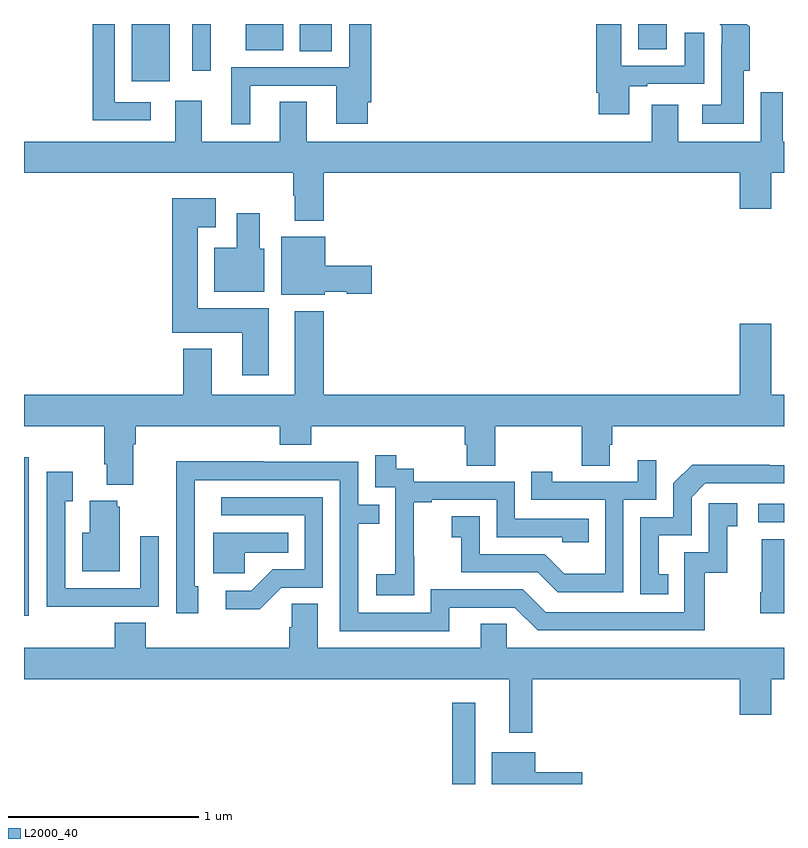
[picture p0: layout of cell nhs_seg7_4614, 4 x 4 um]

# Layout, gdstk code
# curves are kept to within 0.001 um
import gdstk
lib = gdstk.Library(unit=1e-6, precision=1e-09)
def R(c, l, rs):  # rectangles x0, y0, x1, y1
    for r in rs: c.add(gdstk.rectangle(r[:2], r[2:], *l))
def P(c, l, *ps):  # polygons
    for p in ps: c.add(gdstk.Polygon(p, *l))
L2000_40 = (2000, 40)

nhs_seg7_4614 = lib.new_cell('nhs_seg7_4614')
R(nhs_seg7_4614, L2000_40, [(403.254,1064,403.375,1064.428), (401,1064.886,401.026,1065.721), (404.865,1065.378,405,1065.474), (401.567,1067.699,401.767,1068), (401.886,1067.754,401.984,1068), (402.452,1067.857,402.619,1068), (402.167,1067.861,402.364,1068), (404.234,1067.866,404.383,1068)])
P(nhs_seg7_4614, L2000_40, [(404.185,1067.673),(404.281,1067.673),(404.281,1067.685),(404.581,1067.685),(404.581,1067.953),(404.477,1067.953),(404.477,1067.781),(404.143,1067.781),(404.143,1068),(404.012,1068),(404.012,1067.638),(404.024,1067.638),(404.024,1067.526),(404.185,1067.526)],
  [(404.788,1067.754),(404.819,1067.754),(404.819,1067.986),(404.805,1068),(404.661,1068),(404.673,1067.988),(404.673,1067.894),(404.669,1067.894),(404.669,1067.575),(404.571,1067.575),(404.571,1067.474),(404.788,1067.474)],
  [(401.668,1067.589),(401.478,1067.589),(401.478,1068),(401.362,1068),(401.362,1067.493),(401.668,1067.493)],
  [(402.19,1067.676),(402.644,1067.676),(402.644,1067.475),(402.808,1067.475),(402.808,1067.587),(402.827,1067.587),(402.827,1068),(402.711,1068),(402.711,1067.772),(402.092,1067.772),(402.092,1067.472),(402.19,1067.472)],
  [(402.578,1067.216),(404.768,1067.216),(404.768,1067.028),(404.932,1067.028),(404.932,1067.216),(405,1067.216),(405,1067.38),(404.993,1067.38),(404.993,1067.641),(404.877,1067.641),(404.877,1067.38),(404.443,1067.38),(404.443,1067.575),(404.303,1067.575),(404.303,1067.38),(402.487,1067.38),(402.487,1067.591),(402.347,1067.591),(402.347,1067.38),(401.935,1067.38),(401.935,1067.596),(401.795,1067.596),(401.795,1067.38),(401,1067.38),(401,1067.216),(402.418,1067.216),(402.418,1067.096),(402.425,1067.096),(402.425,1066.964),(402.578,1066.964)],
  [(402.289,1066.504),(401.914,1066.504),(401.914,1066.931),(402.01,1066.931),(402.01,1067.083),(401.78,1067.083),(401.78,1066.376),(402.149,1066.376),(402.149,1066.152),(402.289,1066.152)],
  [(402.265,1066.818),(402.241,1066.818),(402.241,1067.005),(402.119,1067.005),(402.119,1066.822),(402.002,1066.822),(402.002,1066.592),(402.265,1066.592)],
  [(402.582,1066.592),(402.699,1066.592),(402.699,1066.58),(402.829,1066.58),(402.829,1066.727),(402.586,1066.727),(402.586,1066.879),(402.353,1066.879),(402.353,1066.574),(402.582,1066.574)],
  [(401.575,1065.788),(401.588,1065.788),(401.588,1065.884),(402.347,1065.884),(402.347,1065.785),(402.512,1065.785),(402.512,1065.884),(403.319,1065.884),(403.319,1065.786),(403.331,1065.786),(403.331,1065.676),(403.479,1065.676),(403.479,1065.884),(403.936,1065.884),(403.936,1065.676),(404.083,1065.676),(404.083,1065.786),(404.096,1065.786),(404.096,1065.884),(405,1065.884),(405,1066.048),(404.932,1066.048),(404.932,1066.423),(404.768,1066.423),(404.768,1066.048),(402.578,1066.048),(402.578,1066.489),(402.425,1066.489),(402.425,1066.048),(401.989,1066.048),(401.989,1066.291),(401.837,1066.291),(401.837,1066.048),(401,1066.048),(401,1065.884),(401.423,1065.884),(401.423,1065.682),(401.435,1065.682),(401.435,1065.575),(401.575,1065.575)],
  [(403.053,1065.199),(403.052,1065.199),(403.052,1065.483),(403.147,1065.483),(403.147,1065.495),(403.488,1065.495),(403.488,1065.3),(403.833,1065.3),(403.833,1065.273),(403.973,1065.273),(403.973,1065.396),(403.584,1065.396),(403.584,1065.591),(403.05,1065.591),(403.05,1065.66),(402.958,1065.66),(402.958,1065.73),(402.849,1065.73),(402.849,1065.561),(402.954,1065.561),(402.954,1065.332),(402.953,1065.332),(402.953,1065.103),(402.855,1065.103),(402.855,1064.993),(403.053,1064.993)],
  [(404.154,1065.495),(404.328,1065.495),(404.328,1065.703),(404.231,1065.703),(404.231,1065.591),(403.78,1065.591),(403.78,1065.643),(403.669,1065.643),(403.669,1065.495),(404.058,1065.495),(404.058,1065.106),(403.844,1065.106),(403.74,1065.21),(403.398,1065.21),(403.398,1065.409),(403.251,1065.409),(403.251,1065.299),(403.3,1065.299),(403.3,1065.114),(403.703,1065.114),(403.808,1065.009),(404.154,1065.009)],
  [(403.237,1064.928),(403.584,1064.928),(403.704,1064.808),(404.584,1064.808),(404.584,1065.111),(404.702,1065.111),(404.702,1065.357),(404.755,1065.357),(404.755,1065.478),(404.604,1065.478),(404.604,1065.219),(404.475,1065.219),(404.475,1064.904),(403.746,1064.904),(403.626,1065.024),(403.14,1065.024),(403.14,1064.901),(402.759,1064.901),(402.759,1065.37),(402.869,1065.37),(402.869,1065.471),(402.759,1065.471),(402.759,1065.696),(402.263,1065.696),(402.263,1065.698),(401.8,1065.698),(401.8,1065.391),(401.802,1065.391),(401.802,1064.898),(401.917,1064.898),(401.917,1065.042),(401.898,1065.042),(401.899,1065.6),(402.663,1065.6),(402.663,1064.805),(403.237,1064.805)],
  [(404.39,1065.105),(404.341,1065.105),(404.341,1065.309),(404.514,1065.309),(404.514,1065.51),(404.586,1065.582),(405,1065.582),(405,1065.678),(404.924,1065.678),(404.924,1065.68),(404.516,1065.68),(404.418,1065.582),(404.418,1065.405),(404.244,1065.405),(404.244,1065),(404.39,1065)],
  [(401.393,1064.934),(401.709,1064.934),(401.709,1065.304),(401.613,1065.304),(401.613,1065.03),(401.217,1065.03),(401.217,1065.487),(401.257,1065.487),(401.257,1065.643),(401.121,1065.643),(401.121,1064.933),(401.393,1064.933)],
  [(402.354,1065.033),(402.573,1065.033),(402.573,1065.51),(402.039,1065.51),(402.039,1065.414),(402.477,1065.414),(402.477,1065.129),(402.308,1065.129),(402.197,1065.018),(402.063,1065.018),(402.063,1064.921),(402.241,1064.921)],
  [(401.503,1065.459),(401.492,1065.459),(401.492,1065.49),(401.345,1065.49),(401.345,1065.322),(401.306,1065.322),(401.306,1065.119),(401.503,1065.119)],
  [(402.162,1065.218),(402.392,1065.218),(402.392,1065.322),(401.996,1065.322),(401.996,1065.11),(402.162,1065.11)],
  [(405,1065.289),(404.882,1065.289),(404.882,1065.01),(404.875,1065.01),(404.875,1064.898),(405,1064.898)],
  [(403.675,1064.552),(404.768,1064.552),(404.768,1064.364),(404.932,1064.364),(404.932,1064.552),(405,1064.552),(405,1064.716),(403.542,1064.716),(403.542,1064.843),(403.403,1064.843),(403.403,1064.716),(402.547,1064.716),(402.547,1064.948),(402.408,1064.948),(402.408,1064.825),(402.395,1064.825),(402.395,1064.716),(401.642,1064.716),(401.642,1064.849),(401.477,1064.849),(401.477,1064.716),(401,1064.716),(401,1064.552),(403.553,1064.552),(403.553,1064.271),(403.675,1064.271)],
  [(403.939,1064.061),(403.69,1064.061),(403.69,1064.167),(403.463,1064.167),(403.463,1064),(403.939,1064)])

lib.write_gds('nhs_seg7_4614.gds')
